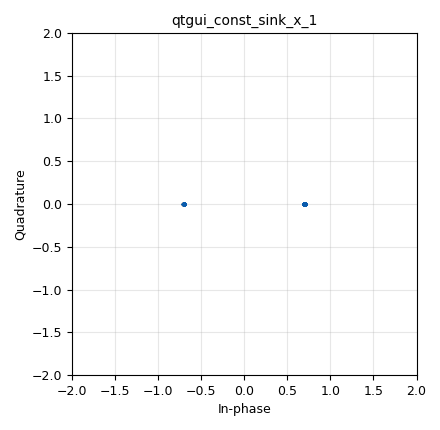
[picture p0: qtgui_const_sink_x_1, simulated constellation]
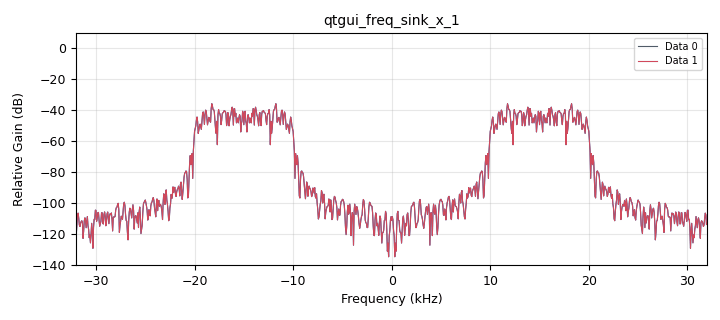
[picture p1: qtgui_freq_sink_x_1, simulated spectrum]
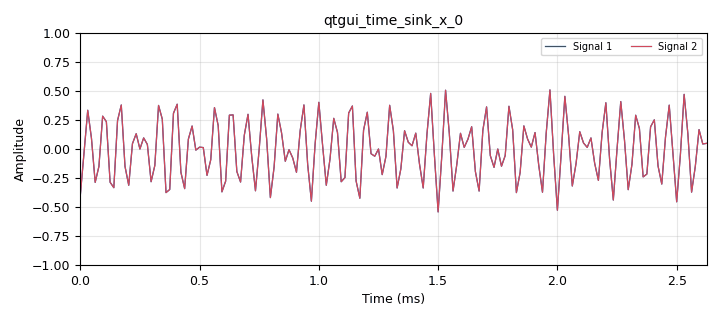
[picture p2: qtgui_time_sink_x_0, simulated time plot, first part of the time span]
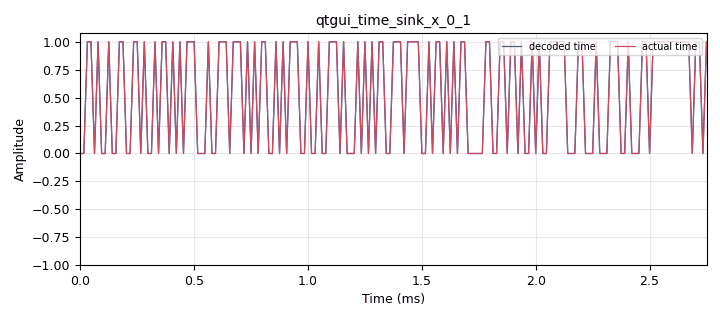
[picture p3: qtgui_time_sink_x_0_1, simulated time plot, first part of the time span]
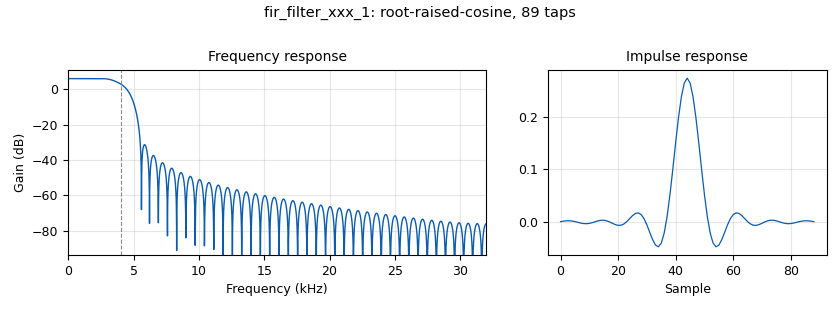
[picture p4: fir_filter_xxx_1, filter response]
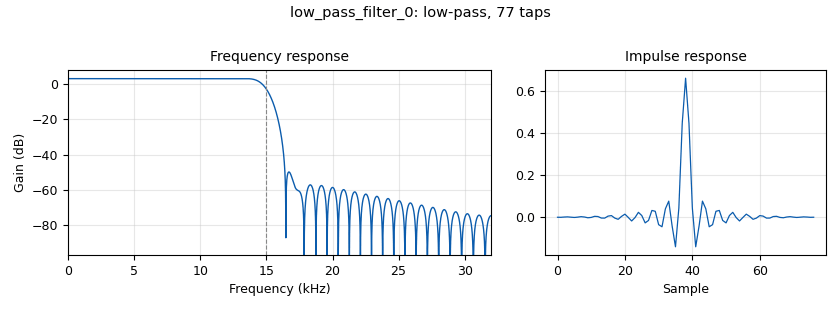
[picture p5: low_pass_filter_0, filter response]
options:
  parameters:
    author: YASH
    generate_options: qt_gui
    id: modulation_scheme
    output_language: python
    title: modulation_scheme
  states: {}

blocks:
- name: constellation_point
  id: variable_constellation
  parameters:
    precision: '8'
    type: bpsk
  states: {}
- name: delay
  id: variable_qtgui_range
  parameters:
    start: '0'
    step: '1'
    stop: '100'
    value: '2'
  states: {}
- name: delay_actual_signal
  id: variable_qtgui_range
  parameters:
    start: '0'
    step: '1'
    stop: '100'
    value: '16'
  states: {}
- name: fc
  id: variable
  parameters:
    value: '15000'
  states: {}
- name: noise_amp
  id: variable_qtgui_range
  parameters:
    start: '0'
    step: '0.01'
    stop: '1'
    value: '0'
  states: {}
- name: rrc_taps
  id: variable_rrc_filter_taps
  parameters:
    alpha: '0.35'
    gain: '2'
    ntaps: 11*sps
    samp_rate: samp_rate
    sym_rate: samp_rate // sps
  states: {}
- name: samp_rate
  id: variable
  parameters:
    value: '64000'
  states: {}
- name: sps
  id: variable
  parameters:
    value: '8'
  states: {}
- name: analog_noise_source_x_0
  id: analog_noise_source_x
  parameters:
    amp: noise_amp
    noise_type: analog.GR_GAUSSIAN
    seed: '0'
    type: float
  states: {}
- name: analog_random_source_x_0
  id: analog_random_source_x
  parameters:
    max: '2'
    min: '0'
    num_samps: '10000'
    repeat: 'True'
    type: byte
  states: {}
- name: analog_sig_source_x_0
  id: analog_sig_source_x
  parameters:
    amp: '1.414'
    freq: fc
    offset: '0'
    phase: '0'
    samp_rate: samp_rate
    type: complex
    waveform: analog.GR_COS_WAVE
  states: {}
- name: analog_sig_source_x_0_0
  id: analog_sig_source_x
  parameters:
    amp: '-1.414'
    freq: fc
    offset: '0'
    phase: '0'
    samp_rate: samp_rate
    type: float
    waveform: analog.GR_SIN_WAVE
  states: {}
- name: analog_sig_source_x_0_0_0
  id: analog_sig_source_x
  parameters:
    amp: '1.414'
    freq: fc
    offset: '0'
    phase: '0'
    samp_rate: samp_rate
    type: float
    waveform: analog.GR_COS_WAVE
  states: {}
- name: blocks_add_xx_0
  id: blocks_add_xx
  parameters:
    type: float
  states: {}
- name: blocks_complex_to_real_0
  id: blocks_complex_to_real
  parameters: {}
  states: {}
- name: blocks_delay_0
  id: blocks_delay
  parameters:
    delay: delay
    type: complex
  states: {}
- name: blocks_delay_1
  id: blocks_delay
  parameters:
    delay: delay_0
    type: complex
  states: {state: disabled}
- name: blocks_delay_1_0
  id: blocks_delay
  parameters:
    delay: delay_actual_signal
    type: byte
  states: {}
- name: blocks_float_to_complex_0
  id: blocks_float_to_complex
  parameters: {}
  states: {}
- name: blocks_int_to_float_0
  id: blocks_int_to_float
  parameters:
    scale: '1'
  states: {}
- name: blocks_int_to_float_0_0
  id: blocks_int_to_float
  parameters:
    scale: '1'
  states: {state: disabled}
- name: blocks_multiply_xx_0
  id: blocks_multiply_xx
  parameters:
    type: complex
  states: {}
- name: blocks_multiply_xx_0_0
  id: blocks_multiply_xx
  parameters:
    type: float
  states: {}
- name: blocks_multiply_xx_0_0_0
  id: blocks_multiply_xx
  parameters:
    type: float
  states: {}
- name: blocks_throttle2_0
  id: blocks_throttle2
  parameters:
    samples_per_second: samp_rate
    type: complex
  states: {}
- name: blocks_uchar_to_float_0
  id: blocks_uchar_to_float
  parameters: {}
  states: {state: disabled}
- name: blocks_uchar_to_float_0_0
  id: blocks_uchar_to_float
  parameters: {}
  states: {state: disabled}
- name: blocks_uchar_to_float_0_1
  id: blocks_uchar_to_float
  parameters: {}
  states: {state: disabled}
- name: blocks_uchar_to_float_0_2
  id: blocks_uchar_to_float
  parameters: {}
  states: {}
- name: blocks_uchar_to_float_1
  id: blocks_uchar_to_float
  parameters: {}
  states: {}
- name: blocks_uchar_to_float_1_0
  id: blocks_uchar_to_float
  parameters: {}
  states: {}
- name: digital_constellation_decoder_cb_0
  id: digital_constellation_decoder_cb
  parameters: {}
  states: {state: disabled}
- name: digital_constellation_decoder_cb_1
  id: digital_constellation_decoder_cb
  parameters:
    constellation: constellation_point
  states: {}
- name: digital_constellation_encoder_bc_0
  id: digital_constellation_encoder_bc
  parameters:
    constellation: constellation_point
  states: {}
- name: epy_block_0
  id: epy_block
  parameters:
    _source_code: "\"\"\"\nEmbedded Python Blocks:\n\nEach time this file is saved, GRC will instantiate the first class it finds\nto get ports and parameters of your block. The arguments to __init__  will\nbe the parameters. All of them are required to have default values!\n\"\"\"\n\nimport numpy as np\nfrom gnuradio import gr\n\n\nclass blk(gr.sync_block):  # other base classes are basic_block, decim_block, interp_block\n    \"\"\"Embedded Python Block example - a simple multiply const\"\"\"\n\n    def __init__(self):  # only default arguments here\n        \"\"\"arguments to this function show up as parameters in GRC\"\"\"\n        gr.sync_block.__init__(\n            self,\n            name='Embedded Python Block',   # will show up in GRC\n            in_sig=[np.int8, np.int8],\n            out_sig=[np.int32]\n        )\n        # if an attribute with the same name as a parameter is found,\n        # a callback is registered (properties work, too).\n        # self.example_param = example_param\n\n    def work(self, input_items, output_items):\n        \"\"\"example: multiply with constant\"\"\"\n        output_items[0][:] = (input_items[0] != input_items[1]).astype('int8')\n        return len(output_items[0])\n\n"
  states: {}
- name: epy_block_0_0
  id: epy_block
  parameters:
    _source_code: |
      """
      Embedded Python Blocks:

      Each time this file is saved, GRC will instantiate the first class it finds
      to get ports and parameters of your block. The arguments to __init__  will
      be the parameters. All of them are required to have default values!
      """

      import numpy as np
      from gnuradio import gr


      class blk(gr.interp_block):  # other base classes are basic_block, decim_block, interp_block
          """Embedded Python Block example - a simple multiply const"""

          def __init__(self, interp_rate = 2):  # only default arguments here
              """arguments to this function show up as parameters in GRC"""
              gr.interp_block.__init__(
                  self,
                  name='BER Counter',   # will show up in GRC
                  in_sig=[np.int8, np.int8],
                  out_sig=[np.int8],
                  interp = interp_rate
              )
              self.interp_rate = interp_rate
              self.set_relative_rate(interp_rate)

          def work(self, input_items, output_items):
              """example: multiply with constant"""
              error = np.bitwise_xor(input_items[0], input_items[1])
              error = np.unpackbits(error.astype('uint8'))
              pattern_list = []
              for i in range(self.interp_rate):
                  pattern_list.append(error[(7-i):8])
              output_items[0][:] = np.concatenate(pattern_list)
              return len(output_items[0])
    interp_rate: '2'
  states: {state: disabled}
- name: epy_block_0_1
  id: epy_block
  parameters:
    _source_code: |
      """
      Embedded Python Blocks:

      Each time this file is saved, GRC will instantiate the first class it finds
      to get ports and parameters of your block. The arguments to __init__  will
      be the parameters. All of them are required to have default values!
      """

      import numpy as np
      from gnuradio import gr


      class blk(gr.interp_block):  # other base classes are basic_block, decim_block, interp_block
          """Embedded Python Block example - a simple multiply const"""

          def __init__(self, interp_rate = 2):  # only default arguments here
              """arguments to this function show up as parameters in GRC"""
              gr.interp_block.__init__(
                  self,
                  name='BER Counter',   # will show up in GRC
                  in_sig=[np.int8, np.int8],
                  out_sig=[np.int32],
                  interp = interp_rate
              )
              self.interp_rate = interp_rate
              self.set_relative_rate(interp_rate)

          def work(self, input_items, output_items):
              """example: multiply with constant"""
              error = np.bitwise_xor(input_items[0], input_items[1])
              error = np.unpackbits(error.astype('uint8'))
              pattern_list = []
              for i in range(self.interp_rate):
                  pattern_list.append(error[(7-i):8])
              output_items[0][:] = np.concatenate(pattern_list)
              return len(output_items[0])
    interp_rate: '2'
  states: {state: disabled}
- name: epy_block_0_2
  id: epy_block
  parameters:
    _source_code: |
      """
      Embedded Python Blocks:

      Each time this file is saved, GRC will instantiate the first class it finds
      to get ports and parameters of your block. The arguments to __init__  will
      be the parameters. All of them are required to have default values!
      """

      import numpy as np
      from gnuradio import gr


      class blk(gr.interp_block):  # other base classes are basic_block, decim_block, interp_block
          """Embedded Python Block example - a simple multiply const"""

          def __init__(self, interp_rate = 2):  # only default arguments here
              """arguments to this function show up as parameters in GRC"""
              gr.interp_block.__init__(
                  self,
                  name='BER Counter',   # will show up in GRC
                  in_sig=[np.int8, np.int8],
                  out_sig=[np.int8],
                  interp = interp_rate
              )
              self.interp_rate = interp_rate
              self.set_relative_rate(interp_rate)

          def work(self, input_items, output_items):
              """example: multiply with constant"""
              error = np.bitwise_xor(input_items[0], input_items[1])
              error = np.unpackbits(error.astype('uint8'))
              pattern_list = []
              for i in range(self.interp_rate):
                  pattern_list.append(error[(7-i)::8])
              output_items[0][:] = np.concatenate(pattern_list)
              return len(output_items[0])
    interp_rate: '1'
  states: {}
- name: fir_filter_xxx_0
  id: fir_filter_xxx
  parameters:
    decim: sps
    taps: rrc_taps
    type: ccc
  states: {state: disabled}
- name: fir_filter_xxx_1
  id: fir_filter_xxx
  parameters:
    decim: sps
    taps: rrc_taps
    type: ccc
  states: {}
- name: interp_fir_filter_xxx_0
  id: interp_fir_filter_xxx
  parameters:
    interp: sps
    taps: rrc_taps
    type: ccf
  states: {}
- name: low_pass_filter_0
  id: low_pass_filter
  parameters:
    cutoff_freq: fc
    gain: '1.414'
    interp: '1'
    samp_rate: samp_rate
    type: interp_fir_filter_fff
    width: '2000'
    win: window.WIN_HAMMING
  states: {}
- name: low_pass_filter_0_0
  id: low_pass_filter
  parameters:
    cutoff_freq: fc
    gain: '1.414'
    interp: '1'
    samp_rate: samp_rate
    type: interp_fir_filter_fff
    width: '2000'
    win: window.WIN_HAMMING
  states: {}
- name: qtgui_const_sink_x_0
  id: qtgui_const_sink_x
  parameters:
    size: '1024'
    type: complex
  states: {state: disabled}
- name: qtgui_const_sink_x_1
  id: qtgui_const_sink_x
  parameters:
    size: '1024'
    type: complex
  states: {}
- name: qtgui_freq_sink_x_0
  id: qtgui_freq_sink_x
  parameters:
    bw: samp_rate
    fc: '0'
    fftsize: '1024'
    type: complex
  states: {state: disabled}
- name: qtgui_freq_sink_x_1
  id: qtgui_freq_sink_x
  parameters:
    bw: samp_rate
    fc: '0'
    fftsize: '1024'
    nconnections: '2'
    type: float
  states: {}
- name: qtgui_histogram_sink_x_0
  id: qtgui_histogram_sink_x
  parameters:
    bins: '100'
    grid: 'True'
    label1: Symbol error rate
    size: '10000'
    type: float
    xmax: '1.5'
    xmin: '-0.5'
  states: {}
- name: qtgui_histogram_sink_x_0_0
  id: qtgui_histogram_sink_x
  parameters:
    bins: '100'
    label1: Symbol error rate
    size: '1024'
    type: float
    xmax: '1.5'
    xmin: '-0.5'
  states: {state: disabled}
- name: qtgui_histogram_sink_x_0_1
  id: qtgui_histogram_sink_x
  parameters:
    bins: '100'
    grid: 'True'
    label1: Bit error rate
    size: '10000'
    type: float
    xmax: '1.5'
    xmin: '-0.5'
  states: {}
- name: qtgui_time_sink_x_0
  id: qtgui_time_sink_x
  parameters:
    nconnections: '2'
    size: '1024'
    srate: samp_rate
    type: float
  states: {}
- name: qtgui_time_sink_x_0_0
  id: qtgui_time_sink_x
  parameters:
    nconnections: '2'
    size: '1024'
    srate: samp_rate
    type: float
  states: {state: disabled}
- name: qtgui_time_sink_x_0_1
  id: qtgui_time_sink_x
  parameters:
    label1: decoded time
    label2: actual time
    nconnections: '2'
    size: '1024'
    srate: samp_rate
    type: float
  states: {}
- name: virtual_sink_0
  id: virtual_sink
  parameters:
    stream_id: passband
  states: {}
- name: virtual_sink_0_0
  id: virtual_sink
  parameters:
    stream_id: actual_data
  states: {}
- name: virtual_source_0
  id: virtual_source
  parameters:
    stream_id: passband
  states: {}
- name: virtual_source_0_0
  id: virtual_source
  parameters:
    stream_id: actual_data
  states: {}

connections:
- [analog_noise_source_x_0, '0', blocks_add_xx_0, '1']
- [analog_random_source_x_0, '0', digital_constellation_encoder_bc_0, '0']
- [analog_random_source_x_0, '0', virtual_sink_0_0, '0']
- [analog_sig_source_x_0, '0', blocks_multiply_xx_0, '1']
- [analog_sig_source_x_0_0, '0', blocks_multiply_xx_0_0_0, '1']
- [analog_sig_source_x_0_0_0, '0', blocks_multiply_xx_0_0, '0']
- [blocks_add_xx_0, '0', qtgui_freq_sink_x_1, '1']
- [blocks_add_xx_0, '0', qtgui_time_sink_x_0, '1']
- [blocks_add_xx_0, '0', virtual_sink_0, '0']
- [blocks_complex_to_real_0, '0', blocks_add_xx_0, '0']
- [blocks_complex_to_real_0, '0', qtgui_freq_sink_x_1, '0']
- [blocks_complex_to_real_0, '0', qtgui_time_sink_x_0, '0']
- [blocks_delay_0, '0', fir_filter_xxx_1, '0']
- [blocks_delay_1, '0', digital_constellation_decoder_cb_1, '0']
- [blocks_delay_1_0, '0', blocks_uchar_to_float_1_0, '0']
- [blocks_delay_1_0, '0', epy_block_0, '1']
- [blocks_delay_1_0, '0', epy_block_0_1, '1']
- [blocks_delay_1_0, '0', epy_block_0_2, '1']
- [blocks_float_to_complex_0, '0', blocks_delay_0, '0']
- [blocks_int_to_float_0, '0', qtgui_histogram_sink_x_0, '0']
- [blocks_int_to_float_0_0, '0', qtgui_histogram_sink_x_0_0, '0']
- [blocks_multiply_xx_0, '0', blocks_complex_to_real_0, '0']
- [blocks_multiply_xx_0_0, '0', low_pass_filter_0, '0']
- [blocks_multiply_xx_0_0_0, '0', low_pass_filter_0_0, '0']
- [blocks_throttle2_0, '0', interp_fir_filter_xxx_0, '0']
- [blocks_uchar_to_float_0, '0', qtgui_time_sink_x_0_0, '0']
- [blocks_uchar_to_float_0_0, '0', qtgui_time_sink_x_0_0, '1']
- [blocks_uchar_to_float_0_2, '0', qtgui_histogram_sink_x_0_1, '0']
- [blocks_uchar_to_float_1, '0', qtgui_time_sink_x_0_1, '0']
- [blocks_uchar_to_float_1_0, '0', qtgui_time_sink_x_0_1, '1']
- [digital_constellation_decoder_cb_1, '0', blocks_uchar_to_float_0, '0']
- [digital_constellation_decoder_cb_1, '0', blocks_uchar_to_float_1, '0']
- [digital_constellation_decoder_cb_1, '0', epy_block_0, '0']
- [digital_constellation_decoder_cb_1, '0', epy_block_0_0, '0']
- [digital_constellation_decoder_cb_1, '0', epy_block_0_1, '0']
- [digital_constellation_decoder_cb_1, '0', epy_block_0_2, '0']
- [digital_constellation_encoder_bc_0, '0', blocks_throttle2_0, '0']
- [epy_block_0, '0', blocks_int_to_float_0, '0']
- [epy_block_0_0, '0', blocks_uchar_to_float_0_1, '0']
- [epy_block_0_1, '0', blocks_int_to_float_0_0, '0']
- [epy_block_0_2, '0', blocks_uchar_to_float_0_2, '0']
- [fir_filter_xxx_0, '0', qtgui_const_sink_x_0, '0']
- [fir_filter_xxx_1, '0', blocks_delay_1, '0']
- [fir_filter_xxx_1, '0', digital_constellation_decoder_cb_1, '0']
- [fir_filter_xxx_1, '0', qtgui_const_sink_x_1, '0']
- [interp_fir_filter_xxx_0, '0', blocks_multiply_xx_0, '0']
- [interp_fir_filter_xxx_0, '0', fir_filter_xxx_0, '0']
- [low_pass_filter_0, '0', blocks_float_to_complex_0, '0']
- [low_pass_filter_0_0, '0', blocks_float_to_complex_0, '1']
- [virtual_source_0, '0', blocks_multiply_xx_0_0, '1']
- [virtual_source_0, '0', blocks_multiply_xx_0_0_0, '0']
- [virtual_source_0_0, '0', blocks_delay_1_0, '0']
- [virtual_source_0_0, '0', epy_block_0_0, '1']

metadata:
  file_format: 1
  grc_version: 3.10.7.0
